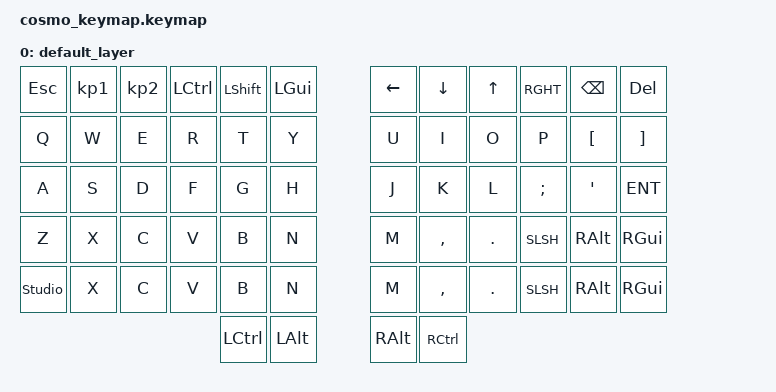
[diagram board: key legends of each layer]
#include <behaviors.dtsi>
#include <dt-bindings/zmk/keys.h>

/ {
    keymap {
        compatible = "zmk,keymap";

        default_layer { // Layer 0
            bindings = <

                &kp ESC &kp KP_N1 &kp KP_N2 &kp LCTRL &kp LSHIFT &kp LGUI           &kp LEFT &kp DOWN &kp UP &kp RGHT &kp BSPC &kp DEL
                &kp Q &kp W &kp E &kp R &kp T &kp Y           &kp U &kp I &kp O &kp P &kp LBKT &kp RBKT
                &kp A &kp S &kp D &kp F &kp G &kp H           &kp J &kp K &kp L &kp SCLN &kp QUOT &kp ENT
                &kp Z &kp X &kp C &kp V &kp B &kp N           &kp M &kp COMMA &kp DOT &kp SLSH &kp RALT &kp RGUI
                &studio_unlock &kp X &kp C &kp V &kp B &kp N           &kp M &kp COMMA &kp DOT &kp SLSH &kp RALT &kp RGUI
                                        &kp LCTRL &kp LALT           &kp RALT &kp RCTRL
            >;
        };
    };
 };
